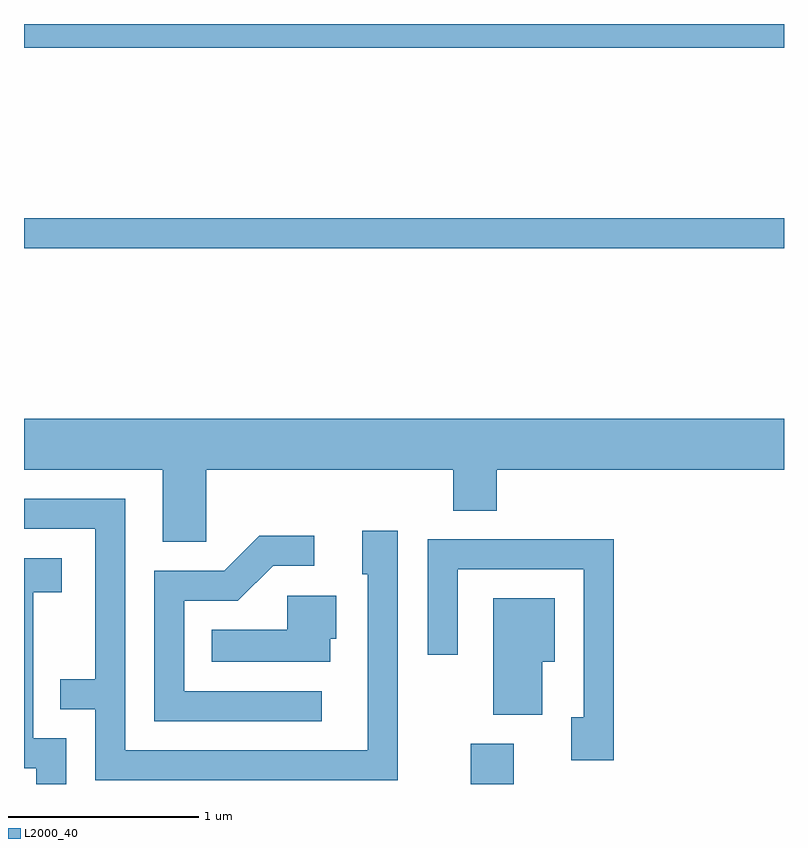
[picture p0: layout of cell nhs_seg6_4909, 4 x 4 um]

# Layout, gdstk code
import gdstk
lib = gdstk.Library(unit=1e-6, precision=1e-09)
def R(c, l, rs):  # rectangles x0, y0, x1, y1
    for r in rs: c.add(gdstk.rectangle(r[:2], r[2:], *l))
def P(c, l, *ps):  # polygons
    for p in ps: c.add(gdstk.Polygon(p, *l))
L2000_40 = (2000, 40)

nhs_seg6_4909 = lib.new_cell('nhs_seg6_4909')
R(nhs_seg6_4909, L2000_40, [(337.961,1546.162,338.189,1546.374), (335.611,1548.981,339.611,1549.139), (335.611,1550.036,339.611,1550.162)])
P(nhs_seg6_4909, L2000_40, [(336.569,1547.816),(337.871,1547.816),(337.871,1547.601),(338.099,1547.601),(338.099,1547.816),(339.611,1547.816),(339.611,1548.084),(335.611,1548.084),(335.611,1547.816),(336.341,1547.816),(336.341,1547.436),(336.569,1547.436)],
  [(337.579,1547.494),(337.391,1547.494),(337.391,1547.266),(337.421,1547.266),(337.421,1546.339),(336.144,1546.339),(336.144,1547.664),(335.611,1547.664),(335.611,1547.506),(335.986,1547.506),(335.986,1546.714),(335.803,1546.714),(335.803,1546.556),(335.986,1546.556),(335.986,1546.181),(337.579,1546.181)],
  [(337.178,1546.649),(336.454,1546.649),(336.454,1547.126),(336.737,1547.126),(336.922,1547.311),(337.138,1547.311),(337.138,1547.469),(336.849,1547.469),(336.664,1547.284),(336.296,1547.284),(336.296,1546.491),(337.178,1546.491)],
  [(338.714,1547.449),(337.736,1547.449),(337.736,1546.843),(337.894,1546.843),(337.894,1547.291),(338.556,1547.291),(338.556,1546.514),(338.491,1546.514),(338.491,1546.286),(338.714,1546.286)],
  [(335.834,1546.404),(335.659,1546.404),(335.659,1547.171),(335.809,1547.171),(335.809,1547.349),(335.611,1547.349),(335.611,1546.246),(335.676,1546.246),(335.676,1546.162),(335.834,1546.162)],
  [(337.224,1546.926),(337.254,1546.926),(337.254,1547.154),(336.996,1547.154),(336.996,1546.974),(336.598,1546.974),(336.598,1546.806),(337.224,1546.806)],
  [(338.339,1546.806),(338.404,1546.806),(338.404,1547.139),(338.081,1547.139),(338.081,1546.526),(338.339,1546.526)])

lib.write_gds('nhs_seg6_4909.gds')
